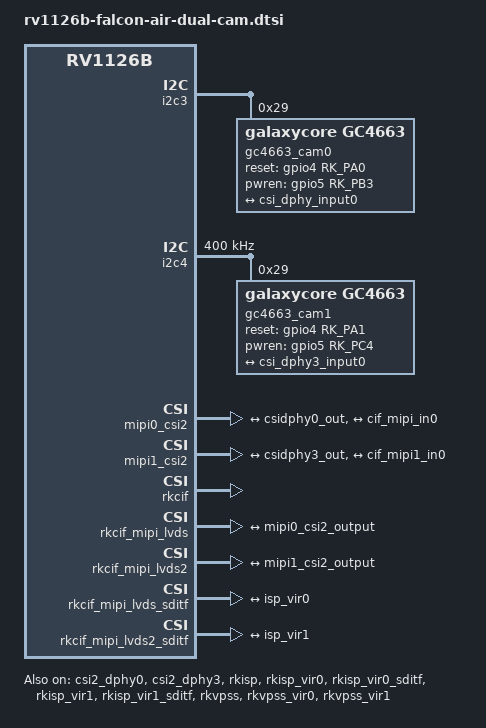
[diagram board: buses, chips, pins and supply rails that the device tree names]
// SPDX-License-Identifier: (GPL-2.0+ OR MIT)
/*
 * Copyright (c) 2025 Rockchip Electronics Co., Ltd.
 *
 */

/*
 * csi2_dphy0 -> csi0(rx0) clk0 + 4 lane
 * csi2_dphy3 -> csi1(rx1) clk0 + 4 lane
 */

&csi2_dphy0 {
	status = "okay";

	ports {
		#address-cells = <1>;
		#size-cells = <0>;
		port@0 {
			reg = <0>;
			#address-cells = <1>;
			#size-cells = <0>;

			csi_dphy_input0: endpoint@1 {
				reg = <1>;
				remote-endpoint = <&gc4663_out0>;
				data-lanes = <1 2>;
			};
		};

		port@1 {
			reg = <1>;
			#address-cells = <1>;
			#size-cells = <0>;

			csidphy0_out: endpoint@0 {
				reg = <0>;
				remote-endpoint = <&mipi0_csi2_input>;
			};
		};
	};
};

&csi2_dphy3 {
	status = "okay";

	ports {
		#address-cells = <1>;
		#size-cells = <0>;
		port@0 {
			reg = <0>;
			#address-cells = <1>;
			#size-cells = <0>;

			csi_dphy3_input0: endpoint@1 {
				reg = <1>;
				remote-endpoint = <&gc4663_out1>;
				data-lanes = <1 2>;
			};

		};
		port@1 {
			reg = <1>;
			#address-cells = <1>;
			#size-cells = <0>;

			csidphy3_out: endpoint@0 {
				reg = <0>;
				remote-endpoint = <&mipi1_csi2_input>;
			};
		};
	};
};

&i2c3 {
	status = "okay";
	pinctrl-0 = <&i2c3m1_pins>;

	gc4663_cam0: gc4663_cam0@29 {
		compatible = "galaxycore,gc4663";
		reg = <0x29>;
		clocks = <&cru CLK_MIPI0_OUT2IO>;
		clock-names = "xvclk";
		reset-gpios = <&gpio4 RK_PA0 GPIO_ACTIVE_HIGH>;
		pwren-gpios = <&gpio5 RK_PB3 GPIO_ACTIVE_HIGH>;
		pinctrl-names = "default";
		pinctrl-0 = <&cam_clk0_pins>;
		rockchip,camera-module-index = <0>;
		rockchip,camera-module-facing = "back";
		rockchip,camera-module-name = "default";
		rockchip,camera-module-lens-name = "default";
		port {
			gc4663_out0: endpoint {
				remote-endpoint = <&csi_dphy_input0>;
				data-lanes = <1 2>;
			};
		};
	};
};


&i2c4 {
	clock-frequency = <400000>;
	status = "okay";
	pinctrl-0 = <&i2c4m2_pins>;

	gc4663_cam1: gc4663_cam1@29 {
		compatible = "galaxycore,gc4663";
		reg = <0x29>;
		clocks = <&cru CLK_MIPI1_OUT2IO>;
		clock-names = "xvclk";
		reset-gpios = <&gpio4 RK_PA1 GPIO_ACTIVE_HIGH>;
		pwren-gpios = <&gpio5 RK_PC4 GPIO_ACTIVE_HIGH>;
		pinctrl-names = "default";
		pinctrl-0 = <&cam_clk1_pins>;
		rockchip,camera-module-index = <1>;
		rockchip,camera-module-facing = "back";
		rockchip,camera-module-name = "default";
		rockchip,camera-module-lens-name = "default";
		port {
			gc4663_out1: endpoint {
				remote-endpoint = <&csi_dphy3_input0>;
				data-lanes = <1 2>;
			};
		};
	};

};


&mipi0_csi2 {
	status = "okay";

	ports {
		#address-cells = <1>;
		#size-cells = <0>;

		port@0 {
			reg = <0>;
			#address-cells = <1>;
			#size-cells = <0>;

			mipi0_csi2_input: endpoint@1 {
				reg = <1>;
				remote-endpoint = <&csidphy0_out>;
			};
		};

		port@1 {
			reg = <1>;
			#address-cells = <1>;
			#size-cells = <0>;

			mipi0_csi2_output: endpoint@0 {
				reg = <0>;
				remote-endpoint = <&cif_mipi_in0>;
			};
		};
	};
};

&mipi1_csi2 {
	status = "okay";

	ports {
		#address-cells = <1>;
		#size-cells = <0>;

		port@0 {
			reg = <0>;
			#address-cells = <1>;
			#size-cells = <0>;

			mipi1_csi2_input: endpoint@1 {
				reg = <1>;
				remote-endpoint = <&csidphy3_out>;
			};
		};

		port@1 {
			reg = <1>;
			#address-cells = <1>;
			#size-cells = <0>;

			mipi1_csi2_output: endpoint@0 {
				reg = <0>;
				remote-endpoint = <&cif_mipi1_in0>;
			};
		};
	};
};

&rkcif {
	status = "okay";
};

&rkcif_mipi_lvds {
	status = "okay";

	port {
		cif_mipi_in0: endpoint {
			remote-endpoint = <&mipi0_csi2_output>;
		};
	};
};

&rkcif_mipi_lvds2 {
	status = "okay";

	port {
		cif_mipi1_in0: endpoint {
			remote-endpoint = <&mipi1_csi2_output>;
		};
	};
};

&rkcif_mipi_lvds_sditf {
	status = "okay";

	port {
		mipi_lvds_sditf: endpoint {
			remote-endpoint = <&isp_vir0>;
		};
	};
};

&rkcif_mipi_lvds2_sditf {
	status = "okay";

	port {
		mipi_lvds2_sditf: endpoint {
			remote-endpoint = <&isp_vir1>;
		};
	};
};

&rkcif_mmu {
	status = "okay";
};

&rkisp {
	status = "okay";
};

&rkisp_mmu {
	status = "okay";
};

&rkisp_vir0 {
	status = "okay";

	port {
		#address-cells = <1>;
		#size-cells = <0>;

		isp_vir0: endpoint@0 {
			reg = <0>;
			remote-endpoint = <&mipi_lvds_sditf>;
		};
	};
};

&rkisp_vir0_sditf {
	status = "okay";
};

&rkisp_vir1 {
	status = "okay";

	port {
		#address-cells = <1>;
		#size-cells = <0>;

		isp_vir1: endpoint@0 {
			reg = <0>;
			remote-endpoint = <&mipi_lvds2_sditf>;
		};
	};
};

&rkisp_vir1_sditf {
	status = "okay";
};

&rkvpss {
	status = "okay";
	dvbm = <&rkdvbm>;
};

&rkvpss_mmu {
	status = "okay";
};

&rkvpss_vir0 {
	status = "okay";
};

&rkvpss_vir1 {
	status = "okay";
};
